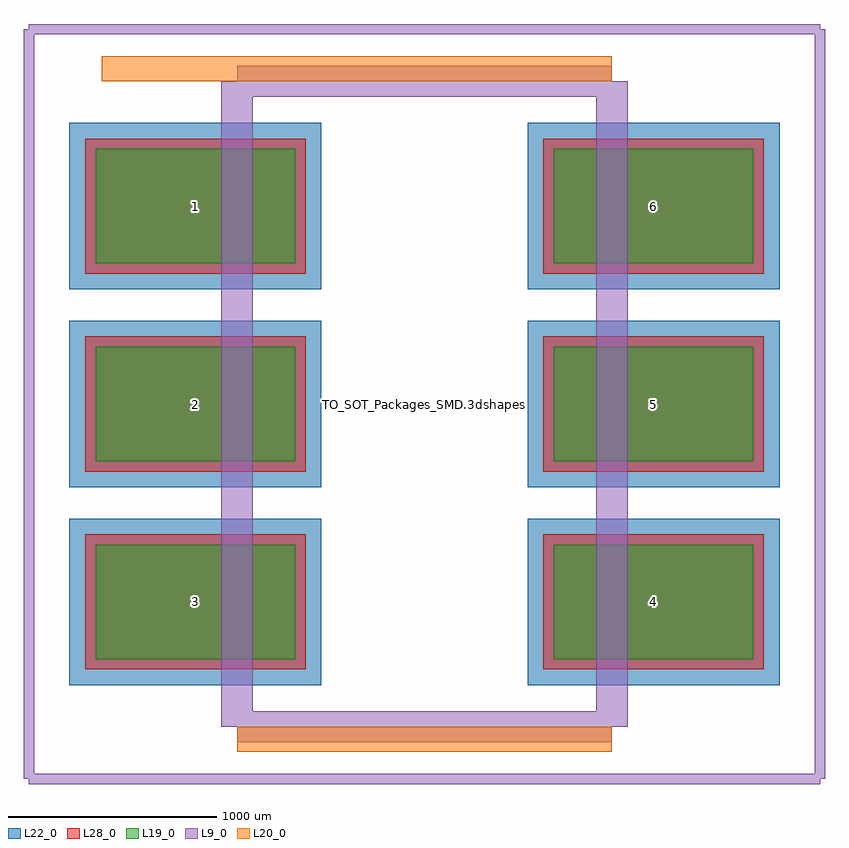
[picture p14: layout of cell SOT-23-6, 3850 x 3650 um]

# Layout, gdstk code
import gdstk
lib = gdstk.Library(unit=1e-6, precision=1e-09)
def R(c, l, rs):  # rectangles x0, y0, x1, y1
    for r in rs: c.add(gdstk.rectangle(r[:2], r[2:], *l))
def A(c, l, x, y, w, h, nx, ny, dx, dy):  # array of equal rectangles
    R(c, l, [(x+i*dx, y+j*dy, x+i*dx+w, y+j*dy+h) for i in range(nx) for j in range(ny)])
L9_0 = (9, 0)
L19_0 = (19, 0)
L20_0 = (20, 0)
L22_0 = (22, 0)
L28_0 = (28, 0)

sot_23_6 = lib.new_cell('SOT-23-6')
A(sot_23_6, L19_0, -1580, -1225, 960, 550, 1, 3, 0, 950)
A(sot_23_6, L19_0, 620, -1225, 960, 550, 1, 3, 0, 950)
A(sot_23_6, L22_0, -1705, -1350, 1210, 800, 1, 3, 0, 950)
A(sot_23_6, L22_0, 495, -1350, 1210, 800, 1, 3, 0, 950)
A(sot_23_6, L28_0, -1630, -1275, 1060, 650, 1, 3, 0, 950)
A(sot_23_6, L28_0, 570, -1275, 1060, 650, 1, 3, 0, 950)
sot_23_6.add(gdstk.FlexPath([(900,1550),(900,-1550)], 149.998, ends="flush", simple_path=True, layer=9, datatype=0))  # L9_0
sot_23_6.add(gdstk.FlexPath([(900,-1550),(-900,-1550)], 149.998, ends="flush", simple_path=True, layer=9, datatype=0))  # L9_0
sot_23_6.add(gdstk.FlexPath([(-900,1550),(-900,-1550)], 149.998, ends="flush", simple_path=True, layer=9, datatype=0))  # L9_0
sot_23_6.add(gdstk.FlexPath([(900,1550),(-900,1550)], 149.998, ends="flush", simple_path=True, layer=9, datatype=0))  # L9_0
sot_23_6.add(gdstk.FlexPath([(-1900,1800),(-1900,-1800)], 50, ends="flush", simple_path=True, layer=9, datatype=0))  # L9_0
sot_23_6.add(gdstk.FlexPath([(-1900,-1800),(1900,-1800)], 50, ends="flush", simple_path=True, layer=9, datatype=0))  # L9_0
sot_23_6.add(gdstk.FlexPath([(1900,-1800),(1900,1800)], 50, ends="flush", simple_path=True, layer=9, datatype=0))  # L9_0
sot_23_6.add(gdstk.FlexPath([(1900,1800),(-1900,1800)], 50, ends="flush", simple_path=True, layer=9, datatype=0))  # L9_0
sot_23_6.add(gdstk.FlexPath([(900,1610),(-1550,1610)], 119.998, ends="flush", simple_path=True, layer=20, datatype=0))  # L20_0
sot_23_6.add(gdstk.FlexPath([(-900,-1610),(900,-1610)], 119.998, ends="flush", simple_path=True, layer=20, datatype=0))  # L20_0
sot_23_6.add(gdstk.Label('TO_SOT_Packages_SMD.3dshapes/SOT-23-6.wrl', (0,0), layer=12, texttype=0))
sot_23_6.add(gdstk.Label('5', (1100,0), layer=28, texttype=0))
sot_23_6.add(gdstk.Label('6', (1100,950), layer=28, texttype=0))
sot_23_6.add(gdstk.Label('4', (1100,-950), layer=28, texttype=0))
sot_23_6.add(gdstk.Label('3', (-1100,-950), layer=28, texttype=0))
sot_23_6.add(gdstk.Label('2', (-1100,0), layer=28, texttype=0))
sot_23_6.add(gdstk.Label('1', (-1100,950), layer=28, texttype=0))
sot_23_6.add(gdstk.Label('type', (0,-2900), layer=9, texttype=0))
sot_23_6.add(gdstk.Label('devicename', (0,2900), layer=9, texttype=0))

lib.write_gds('SOT-23-6.gds')
